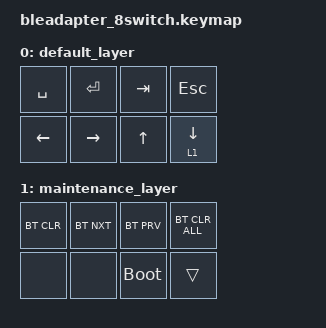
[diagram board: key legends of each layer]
#include <behaviors.dtsi>
#include <dt-bindings/zmk/keys.h>
#include <dt-bindings/zmk/bt.h>

/ {
    keymap {
        compatible = "zmk,keymap";

        default_layer {
            // F2.3: gut unterscheidbare Standardtasten fuer OS-Schaltersteuerung.
            // Buchse 8: kurz = Pfeil runter, halten = Wartungsebene.
            bindings = <
                &kp SPACE  &kp RET    &kp TAB    &kp ESC
                &kp LEFT   &kp RIGHT  &kp UP     &lt 1 DOWN
            >;
        };

        maintenance_layer {
            // Wartung: Buchse 8 halten, dann eine dieser Funktionen druecken.
            // 1 = Pairing des aktiven Profils neu starten
            // 2/3 = BLE-Profil wechseln
            // 4 = alle BLE-Kopplungen loeschen
            // 7 = Bootloader fuer neues Flashen
            bindings = <
                &bt BT_CLR      &bt BT_NXT  &bt BT_PRV  &bt BT_CLR_ALL
                &none           &none       &bootloader &trans
            >;
        };
    };
};

